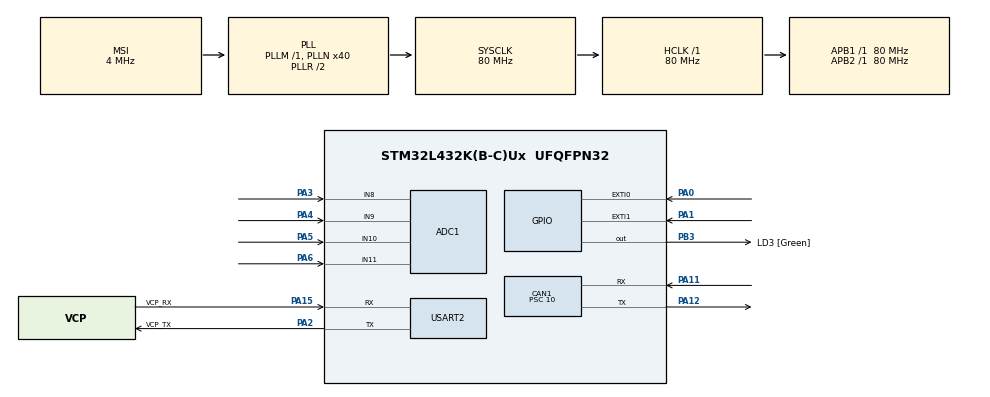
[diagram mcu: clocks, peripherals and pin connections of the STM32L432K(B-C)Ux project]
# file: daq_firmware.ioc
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ADC1.Channel-0\#ChannelRegularConversion=ADC_CHANNEL_8
ADC1.NbrOfConversionFlag=1
ADC1.OffsetNumber-0\#ChannelRegularConversion=ADC_OFFSET_NONE
ADC1.Rank-0\#ChannelRegularConversion=1
ADC1.SamplingTime-0\#ChannelRegularConversion=ADC_SAMPLETIME_2CYCLES_5
ADC1.master=1
CAN1.BS1=CAN_BS1_13TQ
CAN1.BS2=CAN_BS2_2TQ
CAN1.CalculateBaudRate=500000
CAN1.CalculateTimeBit=2000
CAN1.CalculateTimeQuantum=125.0
CAN1.Prescaler=10
FREERTOS.Tasks01=LED_Blink,24,128,LED_BlinkTask,Default,NULL,Static,LED_BlinkBuffer,LED_BlinkControlBlock;CAN_Manager,40,128,CAN_ManagerTask,As external,NULL,Static,CAN_ManagerBuffer,CAN_ManagerControlBlock;Sensor_Manager,40,256,Sensor_ManagerTask,As external,NULL,Static,Sensor_ManagerBuffer,Sensor_ManagerControlBlock;Interrupt_Manager,48,128,Interrupt_ManagerTask,As external,NULL,Static,Interrupt_ManagerBuffer,Interrupt_ManagerControlBlock
FREERTOS.configCHECK_FOR_STACK_OVERFLOW=0
FREERTOS.configMAX_TASK_NAME_LEN=32
FREERTOS.configTOTAL_HEAP_SIZE=12000
Mcu.Family=STM32L4
Mcu.Name=STM32L432K(B-C)Ux
Mcu.Package=UFQFPN32
NVIC.CAN1_RX0_IRQn=true\:5\:0\:false\:false\:true\:true\:true\:true\:true
NVIC.CAN1_RX1_IRQn=true\:5\:0\:false\:false\:true\:true\:true\:true\:true
NVIC.EXTI0_IRQn=true\:5\:0\:true\:false\:true\:true\:true\:true\:true
NVIC.EXTI1_IRQn=true\:5\:0\:true\:false\:true\:true\:true\:true\:true
NVIC.PriorityGroup=NVIC_PRIORITYGROUP_4
NVIC.TIM6_DAC_IRQn=true\:15\:0\:false\:false\:true\:false\:false\:true\:true
NVIC.TimeBase=TIM6_DAC_IRQn
NVIC.TimeBaseIP=TIM6
PA0.GPIO_ModeDefaultEXTI=GPIO_MODE_IT_FALLING
PA0.Signal=GPXTI0
PA1.GPIO_ModeDefaultEXTI=GPIO_MODE_IT_FALLING
PA1.Signal=GPXTI1
PA11.Mode=CAN_Activate
PA11.Signal=CAN1_RX
PA12.Mode=CAN_Activate
PA12.Signal=CAN1_TX
PA13\ (JTMS-SWDIO).GPIO_Label=SWDIO
PA13\ (JTMS-SWDIO).Mode=Serial_Wire
PA13\ (JTMS-SWDIO).Signal=SYS_JTMS-SWDIO
PA14\ (JTCK-SWCLK).GPIO_Label=SWCLK
PA14\ (JTCK-SWCLK).Mode=Serial_Wire
PA14\ (JTCK-SWCLK).Signal=SYS_JTCK-SWCLK
PA15\ (JTDI).GPIO_Label=VCP_RX
PA15\ (JTDI).Mode=Asynchronous
PA15\ (JTDI).Signal=USART2_RX
PA2.GPIO_Label=VCP_TX
PA2.Mode=Asynchronous
PA2.Signal=USART2_TX
PA3.Signal=ADCx_IN8
PA4.Signal=ADCx_IN9
PA5.Signal=ADCx_IN10
PA6.Signal=ADCx_IN11
PB3\ (JTDO-TRACESWO).GPIO_Label=LD3 [Green]
PB3\ (JTDO-TRACESWO).Signal=GPIO_Output
PC14-OSC32_IN\ (PC14).Mode=LSE-External-Oscillator
PC14-OSC32_IN\ (PC14).Signal=RCC_OSC32_IN
PC15-OSC32_OUT\ (PC15).Mode=LSE-External-Oscillator
PC15-OSC32_OUT\ (PC15).Signal=RCC_OSC32_OUT
ProjectManager.HeapSize=0x200
ProjectManager.StackSize=0x400
ProjectManager.TargetToolchain=STM32CubeIDE
RCC.ADCFreq_Value=8000000
RCC.AHBFreq_Value=80000000
RCC.APB1Freq_Value=80000000
RCC.APB1TimFreq_Value=80000000
RCC.APB2Freq_Value=80000000
RCC.APB2TimFreq_Value=80000000
RCC.CortexFreq_Value=80000000
RCC.HCLKFreq_Value=80000000
RCC.HSE_VALUE=8000000
RCC.HSI16_VALUE=16000000
RCC.HSI48_VALUE=48000000
RCC.HSI_VALUE=16000000
RCC.MSI_VALUE=4000000
RCC.PLLMUL=RCC_PLLMUL_4
RCC.PLLN=40
RCC.PLLSAI1N=16
RCC.PLLSAI1R=RCC_PLLR_DIV8
RCC.SYSCLKFreq_VALUE=80000000
RCC.SYSCLKSource=RCC_SYSCLKSOURCE_PLLCLK
RCC.USBFreq_Value=32000000
RCC.VCOOutputFreq_Value=160000000
SH.ADCx_IN10.0=ADC1_IN10,IN10-Single-Ended
SH.ADCx_IN11.0=ADC1_IN11,IN11-Single-Ended
SH.ADCx_IN8.0=ADC1_IN8,IN8-Single-Ended
SH.ADCx_IN9.0=ADC1_IN9,IN9-Single-Ended
TIM2.Prescaler=79
USART2.VirtualMode-Asynchronous=VM_ASYNC
VP_FREERTOS_VS_CMSIS_V2.Mode=CMSIS_V2
VP_SYS_VS_tim6.Mode=TIM6
VP_TIM2_VS_ClockSourceINT.Mode=Internal
board=NUCLEO-L432KC

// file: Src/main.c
/* USER CODE BEGIN Header */
/**
  ******************************************************************************
  * @file           : main.c
  * @brief          : Main program body
  ******************************************************************************
  * @attention
  *
  * Copyright (c) 2026 STMicroelectronics.
  * All rights reserved.
  *
  * This software is licensed under terms that can be found in the LICENSE file
  * in the root directory of this software component.
  * If no LICENSE file comes with this software, it is provided AS-IS.
  *
  ******************************************************************************
  */
/* USER CODE END Header */
#include "main.h"
#include "cmsis_os.h"

/* USER CODE BEGIN Includes */
#include "utils/config_manager.h"
#include "utils/can_manager.h"
/* USER CODE END Includes */

typedef StaticTask_t osStaticThreadDef_t;

ADC_HandleTypeDef hadc1;

CAN_HandleTypeDef hcan1;

TIM_HandleTypeDef htim2;

UART_HandleTypeDef huart2;

/* Definitions for LED_Blink */
osThreadId_t LED_BlinkHandle;
uint32_t LED_BlinkBuffer[ 128 ];
osStaticThreadDef_t LED_BlinkControlBlock;
const osThreadAttr_t LED_Blink_attributes = {
  .name = "LED_Blink",
  .cb_mem = &LED_BlinkControlBlock,
  .cb_size = sizeof(LED_BlinkControlBlock),
  .stack_mem = &LED_BlinkBuffer[0],
  .stack_size = sizeof(LED_BlinkBuffer),
  .priority = (osPriority_t) osPriorityNormal,
};
/* Definitions for CAN_Manager */
osThreadId_t CAN_ManagerHandle;
uint32_t CAN_ManagerBuffer[ 128 ];
osStaticThreadDef_t CAN_ManagerControlBlock;
const osThreadAttr_t CAN_Manager_attributes = {
  .name = "CAN_Manager",
  .cb_mem = &CAN_ManagerControlBlock,
  .cb_size = sizeof(CAN_ManagerControlBlock),
  .stack_mem = &CAN_ManagerBuffer[0],
  .stack_size = sizeof(CAN_ManagerBuffer),
  .priority = (osPriority_t) osPriorityHigh,
};
/* Definitions for Sensor_Manager */
osThreadId_t Sensor_ManagerHandle;
uint32_t Sensor_ManagerBuffer[ 256 ];
osStaticThreadDef_t Sensor_ManagerControlBlock;
const osThreadAttr_t Sensor_Manager_attributes = {
  .name = "Sensor_Manager",
  .cb_mem = &Sensor_ManagerControlBlock,
  .cb_size = sizeof(Sensor_ManagerControlBlock),
  .stack_mem = &Sensor_ManagerBuffer[0],
  .stack_size = sizeof(Sensor_ManagerBuffer),
  .priority = (osPriority_t) osPriorityHigh,
};
/* Definitions for Interrupt_Manager */
osThreadId_t Interrupt_ManagerHandle;
uint32_t Interrupt_ManagerBuffer[ 128 ];
osStaticThreadDef_t Interrupt_ManagerControlBlock;
const osThreadAttr_t Interrupt_Manager_attributes = {
  .name = "Interrupt_Manager",
  .cb_mem = &Interrupt_ManagerControlBlock,
  .cb_size = sizeof(Interrupt_ManagerControlBlock),
  .stack_mem = &Interrupt_ManagerBuffer[0],
  .stack_size = sizeof(Interrupt_ManagerBuffer),
  .priority = (osPriority_t) osPriorityRealtime,
};

void SystemClock_Config(void);
static void MX_GPIO_Init(void);
static void MX_ADC1_Init(void);
static void MX_CAN1_Init(void);
static void MX_TIM2_Init(void);
static void MX_USART2_UART_Init(void);
void LED_BlinkTask(void *argument);
extern void CAN_ManagerTask(void *argument);
extern void Sensor_ManagerTask(void *argument);
extern void Interrupt_ManagerTask(void *argument);

int main(void)
{

  /* MCU Configuration--------------------------------------------------------*/

  /* Reset of all peripherals, Initializes the Flash interface and the Systick. */
  HAL_Init();

  /* Configure the system clock */
  SystemClock_Config();

  /* Initialize all configured peripherals */
  MX_GPIO_Init();
  MX_ADC1_Init();
  MX_CAN1_Init();
  MX_TIM2_Init();
  MX_USART2_UART_Init();
  /* USER CODE BEGIN 2 */
  HAL_CAN_Start(&hcan1);
  HAL_ADCEx_Calibration_Start(&hadc1, ADC_SINGLE_ENDED);
  HAL_TIM_Base_Start(&htim2);
  /* USER CODE END 2 */

  /* Init scheduler */
  osKernelInitialize();

  /* USER CODE BEGIN RTOS_QUEUES */
  /* add queues, ... */
  Config_Init();
  CAN_Manager_Init();
  /* USER CODE END RTOS_QUEUES */

  /* Create the thread(s) */
  /* creation of LED_Blink */
  LED_BlinkHandle = osThreadNew(LED_BlinkTask, NULL, &LED_Blink_attributes);

  /* creation of CAN_Manager */
  CAN_ManagerHandle = osThreadNew(CAN_ManagerTask, NULL, &CAN_Manager_attributes);

  /* creation of Sensor_Manager */
  Sensor_ManagerHandle = osThreadNew(Sensor_ManagerTask, NULL, &Sensor_Manager_attributes);

  /* creation of Interrupt_Manager */
  Interrupt_ManagerHandle = osThreadNew(Interrupt_ManagerTask, NULL, &Interrupt_Manager_attributes);

  /* Start scheduler */
  osKernelStart();

  /* We should never get here as control is now taken by the scheduler */

  /* Infinite loop */
  while (1)
  {

  }
}

void SystemClock_Config(void)
{
  RCC_OscInitTypeDef RCC_OscInitStruct = {0};
  RCC_ClkInitTypeDef RCC_ClkInitStruct = {0};

  /** Configure the main internal regulator output voltage
  */
  if (HAL_PWREx_ControlVoltageScaling(PWR_REGULATOR_VOLTAGE_SCALE1) != HAL_OK)
  {
    Error_Handler();
  }

  /** Configure LSE Drive Capability
  */
  HAL_PWR_EnableBkUpAccess();
  __HAL_RCC_LSEDRIVE_CONFIG(RCC_LSEDRIVE_LOW);

  /** Initializes the RCC Oscillators according to the specified parameters
  * in the RCC_OscInitTypeDef structure.
  */
  RCC_OscInitStruct.OscillatorType = RCC_OSCILLATORTYPE_LSE|RCC_OSCILLATORTYPE_MSI;
  RCC_OscInitStruct.LSEState = RCC_LSE_ON;
  RCC_OscInitStruct.MSIState = RCC_MSI_ON;
  RCC_OscInitStruct.MSICalibrationValue = 0;
  RCC_OscInitStruct.MSIClockRange = RCC_MSIRANGE_6;
  RCC_OscInitStruct.PLL.PLLState = RCC_PLL_ON;
  RCC_OscInitStruct.PLL.PLLSource = RCC_PLLSOURCE_MSI;
  RCC_OscInitStruct.PLL.PLLM = 1;
  RCC_OscInitStruct.PLL.PLLN = 40;
  RCC_OscInitStruct.PLL.PLLP = RCC_PLLP_DIV7;
  RCC_OscInitStruct.PLL.PLLQ = RCC_PLLQ_DIV2;
  RCC_OscInitStruct.PLL.PLLR = RCC_PLLR_DIV2;
  if (HAL_RCC_OscConfig(&RCC_OscInitStruct) != HAL_OK)
  {
    Error_Handler();
  }

  /** Initializes the CPU, AHB and APB buses clocks
  */
  RCC_ClkInitStruct.ClockType = RCC_CLOCKTYPE_HCLK|RCC_CLOCKTYPE_SYSCLK
                              |RCC_CLOCKTYPE_PCLK1|RCC_CLOCKTYPE_PCLK2;
  RCC_ClkInitStruct.SYSCLKSource = RCC_SYSCLKSOURCE_PLLCLK;
  RCC_ClkInitStruct.AHBCLKDivider = RCC_SYSCLK_DIV1;
  RCC_ClkInitStruct.APB1CLKDivider = RCC_HCLK_DIV1;
  RCC_ClkInitStruct.APB2CLKDivider = RCC_HCLK_DIV1;

  if (HAL_RCC_ClockConfig(&RCC_ClkInitStruct, FLASH_LATENCY_4) != HAL_OK)
  {
    Error_Handler();
  }

  /** Enable MSI Auto calibration
  */
  HAL_RCCEx_EnableMSIPLLMode();
}

static void MX_ADC1_Init(void)
{

  ADC_ChannelConfTypeDef sConfig = {0};

  /** Common config
  */
  hadc1.Instance = ADC1;
  hadc1.Init.ClockPrescaler = ADC_CLOCK_ASYNC_DIV1;
  hadc1.Init.Resolution = ADC_RESOLUTION_12B;
  hadc1.Init.DataAlign = ADC_DATAALIGN_RIGHT;
  hadc1.Init.ScanConvMode = ADC_SCAN_DISABLE;
  hadc1.Init.EOCSelection = ADC_EOC_SINGLE_CONV;
  hadc1.Init.LowPowerAutoWait = DISABLE;
  hadc1.Init.ContinuousConvMode = DISABLE;
  hadc1.Init.NbrOfConversion = 1;
  hadc1.Init.DiscontinuousConvMode = DISABLE;
  hadc1.Init.ExternalTrigConv = ADC_SOFTWARE_START;
  hadc1.Init.ExternalTrigConvEdge = ADC_EXTERNALTRIGCONVEDGE_NONE;
  hadc1.Init.DMAContinuousRequests = DISABLE;
  hadc1.Init.Overrun = ADC_OVR_DATA_PRESERVED;
  hadc1.Init.OversamplingMode = DISABLE;
  if (HAL_ADC_Init(&hadc1) != HAL_OK)
  {
    Error_Handler();
  }

  /** Configure Regular Channel
  */
  sConfig.Channel = ADC_CHANNEL_8;
  sConfig.Rank = ADC_REGULAR_RANK_1;
  sConfig.SamplingTime = ADC_SAMPLETIME_2CYCLES_5;
  sConfig.SingleDiff = ADC_SINGLE_ENDED;
  sConfig.OffsetNumber = ADC_OFFSET_NONE;
  sConfig.Offset = 0;
  if (HAL_ADC_ConfigChannel(&hadc1, &sConfig) != HAL_OK)
  {
    Error_Handler();
  }

}

static void MX_CAN1_Init(void)
{

  hcan1.Instance = CAN1;
  hcan1.Init.Prescaler = 10;
  hcan1.Init.Mode = CAN_MODE_NORMAL;
  hcan1.Init.SyncJumpWidth = CAN_SJW_1TQ;
  hcan1.Init.TimeSeg1 = CAN_BS1_13TQ;
  hcan1.Init.TimeSeg2 = CAN_BS2_2TQ;
  hcan1.Init.TimeTriggeredMode = DISABLE;
  hcan1.Init.AutoBusOff = DISABLE;
  hcan1.Init.AutoWakeUp = DISABLE;
  hcan1.Init.AutoRetransmission = DISABLE;
  hcan1.Init.ReceiveFifoLocked = DISABLE;
  hcan1.Init.TransmitFifoPriority = DISABLE;
  if (HAL_CAN_Init(&hcan1) != HAL_OK)
  {
    Error_Handler();
  }
  /* USER CODE BEGIN CAN1_Init 2 */
  CAN_FilterTypeDef filterConfig;
  filterConfig.FilterBank = 0;
  filterConfig.FilterMode = CAN_FILTERMODE_IDMASK;
  filterConfig.FilterScale = CAN_FILTERSCALE_32BIT;

  // Accept all extended IDs: ID=0, Mask=0 means "don't care about any bits"
  filterConfig.FilterIdHigh = 0x0000;
  filterConfig.FilterIdLow = 0x0004;   // Only IDE bit set (extended ID)
  filterConfig.FilterMaskIdHigh = 0x0000;  // Don't care about any ID bits
  filterConfig.FilterMaskIdLow = 0x0004;   // But we DO care about IDE bit (only extended)

  filterConfig.FilterFIFOAssignment = CAN_RX_FIFO0;
  filterConfig.FilterActivation = ENABLE;
  filterConfig.SlaveStartFilterBank = 14;

  if (HAL_CAN_ConfigFilter(&hcan1, &filterConfig) != HAL_OK)
  {
	  Error_Handler();
  }
  /* USER CODE END CAN1_Init 2 */

}

static void MX_TIM2_Init(void)
{

  TIM_ClockConfigTypeDef sClockSourceConfig = {0};
  TIM_MasterConfigTypeDef sMasterConfig = {0};

  htim2.Instance = TIM2;
  htim2.Init.Prescaler = 79;
  htim2.Init.CounterMode = TIM_COUNTERMODE_UP;
  htim2.Init.Period = 4294967295;
  htim2.Init.ClockDivision = TIM_CLOCKDIVISION_DIV1;
  htim2.Init.AutoReloadPreload = TIM_AUTORELOAD_PRELOAD_DISABLE;
  if (HAL_TIM_Base_Init(&htim2) != HAL_OK)
  {
    Error_Handler();
  }
  sClockSourceConfig.ClockSource = TIM_CLOCKSOURCE_INTERNAL;
  if (HAL_TIM_ConfigClockSource(&htim2, &sClockSourceConfig) != HAL_OK)
  {
    Error_Handler();
  }
  sMasterConfig.MasterOutputTrigger = TIM_TRGO_RESET;
  sMasterConfig.MasterSlaveMode = TIM_MASTERSLAVEMODE_DISABLE;
  if (HAL_TIMEx_MasterConfigSynchronization(&htim2, &sMasterConfig) != HAL_OK)
  {
    Error_Handler();
  }

}

static void MX_USART2_UART_Init(void)
{

  huart2.Instance = USART2;
  huart2.Init.BaudRate = 115200;
  huart2.Init.WordLength = UART_WORDLENGTH_8B;
  huart2.Init.StopBits = UART_STOPBITS_1;
  huart2.Init.Parity = UART_PARITY_NONE;
  huart2.Init.Mode = UART_MODE_TX_RX;
  huart2.Init.HwFlowCtl = UART_HWCONTROL_NONE;
  huart2.Init.OverSampling = UART_OVERSAMPLING_16;
  huart2.Init.OneBitSampling = UART_ONE_BIT_SAMPLE_DISABLE;
  huart2.AdvancedInit.AdvFeatureInit = UART_ADVFEATURE_NO_INIT;
  if (HAL_UART_Init(&huart2) != HAL_OK)
  {
    Error_Handler();
  }

}

static void MX_GPIO_Init(void)
{
  GPIO_InitTypeDef GPIO_InitStruct = {0};

  /* GPIO Ports Clock Enable */
  __HAL_RCC_GPIOC_CLK_ENABLE();
  __HAL_RCC_GPIOA_CLK_ENABLE();
  __HAL_RCC_GPIOB_CLK_ENABLE();

  /*Configure GPIO pin Output Level */
  HAL_GPIO_WritePin(LD3_GPIO_Port, LD3_Pin, GPIO_PIN_RESET);

  /*Configure GPIO pins : PA0 PA1 */
  GPIO_InitStruct.Pin = GPIO_PIN_0|GPIO_PIN_1;
  GPIO_InitStruct.Mode = GPIO_MODE_IT_FALLING;
  GPIO_InitStruct.Pull = GPIO_NOPULL;
  HAL_GPIO_Init(GPIOA, &GPIO_InitStruct);

  /*Configure GPIO pin : LD3_Pin */
  GPIO_InitStruct.Pin = LD3_Pin;
  GPIO_InitStruct.Mode = GPIO_MODE_OUTPUT_PP;
  GPIO_InitStruct.Pull = GPIO_NOPULL;
  GPIO_InitStruct.Speed = GPIO_SPEED_FREQ_LOW;
  HAL_GPIO_Init(LD3_GPIO_Port, &GPIO_InitStruct);

  /* EXTI interrupt init*/
  HAL_NVIC_SetPriority(EXTI0_IRQn, 5, 0);
  HAL_NVIC_EnableIRQ(EXTI0_IRQn);

  HAL_NVIC_SetPriority(EXTI1_IRQn, 5, 0);
  HAL_NVIC_EnableIRQ(EXTI1_IRQn);

}

/* USER CODE BEGIN 4 */
int __io_putchar(int ch)
{
  HAL_UART_Transmit(&huart2, (uint8_t *)&ch, 1, HAL_MAX_DELAY);
  return ch;
}
/* USER CODE END 4 */

void LED_BlinkTask(void *argument)
{
  /* USER CODE BEGIN 5 */
  /* Infinite loop */
  for(;;)
  {
	  HAL_GPIO_TogglePin(LD3_GPIO_Port, LD3_Pin);
	  osDelay(500);
  }
  /* USER CODE END 5 */
}

void HAL_TIM_PeriodElapsedCallback(TIM_HandleTypeDef *htim)
{
  if (htim->Instance == TIM6)
  {
    HAL_IncTick();
  }
}

void Error_Handler(void)
{
  __disable_irq();
  while (1)
  {
  }
}
